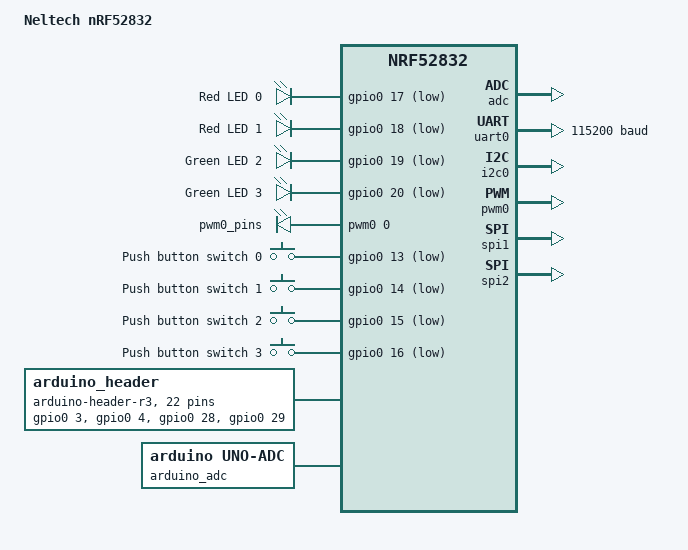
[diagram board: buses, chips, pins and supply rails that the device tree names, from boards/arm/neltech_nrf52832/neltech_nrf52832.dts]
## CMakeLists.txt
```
# SPDX-License-Identifier: Apache-2.0

cmake_minimum_required(VERSION 3.20.0)

find_package(Zephyr REQUIRED HINTS $ENV{ZEPHYR_BASE})
project(hal_nrf52)

set(CMAKE_EXPORT_COMPILE_COMMANDS ON)

target_sources(app PRIVATE 
            src/main.c
            src/hal.c
            src/hal_gpio.c
            src/hal_uart.c
            src/hal_i2c.c
            src/hal_pwm.c
            src/hal_adc.c
            )

zephyr_library_sources_ifdef(
    CONFIG_BT
    src/hal_ble.c
    src/ble/ble_gatt.c
    src/ble/bluetoothle.c
)
```

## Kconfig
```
mainmenu "Custom apps Menu"
source "Kconfig.zephyr"

menu "Application Options"
config GPIO_PIN_NUM
	int "GPIO pin number"
	default 0
	help
	  Total number of GPIO pins available on the board.

config GPIO_PORT_PIN_NUM 
	int "GPIO pin per port"
	default 0
	help
	  Number of GPIO pins per port.

config GPIO_NRESET_PIN
	int "GPIO pin number for nRESET"
	default 0
	help
	  GPIO pin number for nRESET.
endmenu
```

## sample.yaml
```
manifest:
  self:
    west-commands: scripts/west-commands.yml
    
sample:
  description: Hello World sample, the simplest Zephyr
    application
  name: hello world
common:
    tags: introduction
    integration_platforms:
      - native_posix
    harness: console
    harness_config:
      type: one_line
      regex:
        - "Hello World! (.*)"
tests:
  sample.basic.helloworld:
    tags: introduction
```

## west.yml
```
# Copyright (c) 2021 Nordic Semiconductor ASA
# SPDX-License-Identifier: Apache-2.0

manifest:
  self:
    west-commands: scripts/west-commands.yml

  remotes:
    - name: zephyrproject-rtos
      url-base: https://github.com/zephyrproject-rtos

  projects:
    - name: zephyr
      remote: zephyrproject-rtos
      revision: v3.5.0
      import:
        # By using name-allowlist we can clone only the modules that are
        # strictly needed by the application.
        name-allowlist:
          - cmsis      # required by the ARM port
          - hal_nordic # required by the custom_plank board (Nordic based)
```

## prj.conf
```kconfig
# Enable compiler output color
CONFIG_COMPILER_COLOR_DIAGNOSTICS=y

# Debug configs
CONFIG_ASSERT=y

# ADC configs
CONFIG_ADC=y

# I2C configs
CONFIG_I2C=y

# PWM config
CONFIG_PWM=y

# UART configs
CONFIG_SERIAL=y
CONFIG_CONSOLE=y
CONFIG_UART_LINE_CTRL=y
CONFIG_UART_INTERRUPT_DRIVEN=y
CONFIG_UART_USE_RUNTIME_CONFIGURE=y
CONFIG_RING_BUFFER=y 

# Heap memory pool size used by UART driver
CONFIG_HEAP_MEM_POOL_SIZE=512

CONFIG_BOARD_ENABLE_DCDC=y

# Console RTT configs
# CONFIG_LOG=y
# CONFIG_USE_SEGGER_RTT=y
# CONFIG_LOG_BACKEND_RTT=y
# CONFIG_LOG_BACKEND_UART=n
```

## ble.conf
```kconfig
# Default config
CONFIG_BT=y
CONFIG_BT_PERIPHERAL=y
CONFIG_BT_DEVICE_NAME="BLE_SAMPLE"
CONFIG_BT_MAX_CONN=1

# Enable FOTA over BLE
CONFIG_BOOTLOADER_MCUBOOT=y
CONFIG_NCS_SAMPLE_MCUMGR_BT_OTA_DFU=y

# In order to correctly tune the stack sizes for the threads the following
# Configurations can enabled to print the current use:
# CONFIG_THREAD_NAME=y
# CONFIG_THREAD_ANALYZER=y
# CONFIG_THREAD_ANALYZER_AUTO=y
# CONFIG_THREAD_ANALYZER_RUN_UNLOCKED=y
# CONFIG_THREAD_ANALYZER_USE_PRINTK=y
# CONFIG_CONSOLE=y
# CONFIG_UART_CONSOLE=y
# CONFIG_SERIAL=y
# CONFIG_PRINTK=y


# # Configurations set based on thread analyzer output.
# CONFIG_MPSL_WORK_STACK_SIZE=768
# CONFIG_MAIN_STACK_SIZE=1024
# CONFIG_IDLE_STACK_SIZE=256
# CONFIG_SYSTEM_WORKQUEUE_STACK_SIZE=512


# # Disable features not needed
# CONFIG_TIMESLICING=n

# # Disable Bluetooth features not needed
# CONFIG_BT_DEBUG_NONE=y
# CONFIG_BT_DATA_LEN_UPDATE=n
# CONFIG_BT_PHY_UPDATE=n
# CONFIG_BT_GATT_CACHING=n
# CONFIG_BT_GAP_PERIPHERAL_PREF_PARAMS=n
# CONFIG_BT_HCI_VS_EXT=n

# # Disable Bluetooth controller features not needed
# CONFIG_BT_CTLR_PRIVACY=n
# CONFIG_BT_CTLR_PHY_2M=n

# # Reduce Bluetooth buffers
# CONFIG_BT_BUF_EVT_DISCARDABLE_COUNT=1
# CONFIG_BT_BUF_EVT_DISCARDABLE_SIZE=43
# CONFIG_BT_BUF_EVT_RX_COUNT=2

# CONFIG_BT_CONN_TX_MAX=2
# CONFIG_BT_L2CAP_TX_BUF_COUNT=2
# CONFIG_BT_BUF_ACL_TX_COUNT=3
# CONFIG_BT_BUF_ACL_TX_SIZE=27
```

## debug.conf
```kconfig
# Logging configs
CONFIG_LOG=y
CONFIG_LOG_BACKEND_RTT=y
CONFIG_LOG_BACKEND_UART=y
CONFIG_LOG_BACKEND_SHOW_COLOR=y
CONFIG_LOG_BACKEND_FORMAT_TIMESTAMP=y
CONFIG_STDOUT_CONSOLE=y

# Debug configs
CONFIG_DEBUG=y
CONFIG_DEBUG_OPTIMIZATIONS=y
CONFIG_DEBUG_THREAD_INFO=y
CONFIG_CBPRINTF_FP_SUPPORT=y
CONFIG_THREAD_NAME=y
CONFIG_THREAD_ANALYZER=y

# Tracing configs
CONFIG_TRACING=y
CONFIG_TRACING_BACKEND_RAM=y

# Application configs
CONFIG_NEWLIB_LIBC=y
```

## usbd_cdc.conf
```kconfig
## USB CDC ACM configs

# USB relative configs
CONFIG_USB_DEVICE_STACK=y
CONFIG_USB_SELF_POWERED=n

# USB device configs
CONFIG_USB_DEVICE_PRODUCT="CDC ACM device"
CONFIG_USB_DEVICE_MANUFACTURER="Nordic Semiconductor"
CONFIG_USB_DEVICE_VID=0x2e8a
CONFIG_USB_DEVICE_PID=0x0007

# Logging configs
CONFIG_USB_DRIVER_LOG_LEVEL_ERR=y
CONFIG_USB_DEVICE_LOG_LEVEL_ERR=y
CONFIG_USB_CDC_ACM_LOG_LEVEL_ERR=y
```

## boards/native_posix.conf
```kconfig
CONFIG_GPIO_PIN_NUM=32
CONFIG_GPIO_PORT_PIN_NUM=32
```

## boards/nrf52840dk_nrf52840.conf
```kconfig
# Application configs
CONFIG_GPIO_PIN_NUM=48
CONFIG_GPIO_PORT_PIN_NUM=32
CONFIG_GPIO_NRESET_PIN=18
```

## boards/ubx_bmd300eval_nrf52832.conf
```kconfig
# Application configs
CONFIG_GPIO_PIN_NUM=32
CONFIG_GPIO_PORT_PIN_NUM=32
CONFIG_GPIO_NRESET_PIN=21
```

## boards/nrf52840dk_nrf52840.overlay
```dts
// ------------------ Remove DK board default overlay ------------------ // 

&spi1 {
	status = "disabled";
};

&spi3 {
	status = "disabled";
};

&qspi {
	status = "disabled";
};

/ {
	aliases {
		/delete-property/ sw0;
		/delete-property/ sw1;
		/delete-property/ sw2;
		/delete-property/ sw3;
		/delete-property/ led0;
		/delete-property/ led1;
		/delete-property/ led2;
		/delete-property/ led3;
		/delete-property/ pwm-led0;
		/delete-property/ bootloader-led0;
		/delete-property/ mcuboot-led0;
		/delete-property/ mcuboot-button0;
	};
};

// ------------------ Application  ------------------ // 

&zephyr_udc0 {
	usbd_cdc_acm: cdc_acm_uart0 {
		compatible = "zephyr,cdc-acm-uart";
		status = "okay";
	};
};

&uart1 {
	status = "disabled";
};

&pwm1 {
	status = "okay";
	pinctrl-0 = <&pwm1_default>;
	pinctrl-names = "default";
};

&pwm2 {
	status = "okay";
	pinctrl-0 = <&pwm2_default>;
	pinctrl-names = "default";
};

&pwm3 {
	status = "okay";
	pinctrl-0 = <&pwm3_default>;
	pinctrl-names = "default";
};

/ {
	zephyr,user {
		pwm_pins {
			compatible = "pwm-leds";
			pwm0_pins: pwm0_pins {
				pwms =	<&pwm0 0 PWM_KHZ(2000) PWM_POLARITY_NORMAL>,
						<&pwm0 1 PWM_KHZ(2000) PWM_POLARITY_NORMAL>,
						<&pwm0 2 PWM_KHZ(2000) PWM_POLARITY_NORMAL>,
						<&pwm0 3 PWM_KHZ(2000) PWM_POLARITY_NORMAL>;
			};

			pwm1_pins: pwm1_pins {
				pwms =	<&pwm1 0 PWM_KHZ(2000) PWM_POLARITY_NORMAL>,
						<&pwm1 1 PWM_KHZ(2000) PWM_POLARITY_NORMAL>,
						<&pwm1 2 PWM_KHZ(2000) PWM_POLARITY_NORMAL>,
						<&pwm1 3 PWM_KHZ(2000) PWM_POLARITY_NORMAL>;
			};

			pwm2_pins: pwm2_pins {
				pwms =	<&pwm2 0 PWM_KHZ(2) PWM_POLARITY_NORMAL>,
						<&pwm2 1 PWM_KHZ(2) PWM_POLARITY_NORMAL>,
						<&pwm2 2 PWM_KHZ(2) PWM_POLARITY_NORMAL>,
						<&pwm2 3 PWM_KHZ(2) PWM_POLARITY_NORMAL>;
			};

			pwm3_pins: pwm3_pins {
				pwms =	<&pwm3 0 PWM_KHZ(2) PWM_POLARITY_NORMAL>,
						<&pwm3 1 PWM_KHZ(2) PWM_POLARITY_NORMAL>,
						<&pwm3 2 PWM_KHZ(2) PWM_POLARITY_NORMAL>,
						<&pwm3 3 PWM_KHZ(2) PWM_POLARITY_NORMAL>;
			};
		};
	};
};


&pinctrl {
	uart0_default: uart0_default
	{
		group2 {
			psels = <NRF_PSEL(UART_RX, 0, 9)>,
					<NRF_PSEL(UART_CTS, 0, 7)>;
		};
	};
	uart0_sleep: uart0_sleep
	{
		group1 {
			psels = <NRF_PSEL(UART_TX, 0, 6)>,
					<NRF_PSEL(UART_RX, 0, 9)>,
					<NRF_PSEL(UART_RTS, 0, 5)>,
					<NRF_PSEL(UART_CTS, 0, 7)>;
			low-power-enable;
		};
	};
	i2c0_default: i2c0_default 
	{
		group1 {
			psels = <NRF_PSEL(TWIM_SDA, 0, 8)>,
					<NRF_PSEL(TWIM_SCL, 0, 11)>;
		};
	};
	
	i2c0_sleep: i2c0_sleep
	{
		group1 {
			psels = <NRF_PSEL(TWIM_SDA, 0, 8)>,
					<NRF_PSEL(TWIM_SCL, 0, 11)>;
		};
	};

	pwm0_sleep: pwm0_sleep
	{
		group1 {
			psels = <NRF_PSEL(PWM_OUT0, 0, 4)>,
					<NRF_PSEL(PWM_OUT1, 0, 13)>,
					<NRF_PSEL(PWM_OUT2, 0, 14)>,
					<NRF_PSEL(PWM_OUT3, 0, 15)>;
		};
	};

	pwm0_default: pwm0_default
	{
		group1 {
			psels = <NRF_PSEL(PWM_OUT0, 0, 4)>,
					<NRF_PSEL(PWM_OUT1, 0, 13)>,
					<NRF_PSEL(PWM_OUT2, 0, 14)>,
					<NRF_PSEL(PWM_OUT3, 0, 15)>;
		};
	};

	pwm1_default: pwm1_default {
		group1 {
			psels = <NRF_PSEL(PWM_OUT0, 0, 17)>,
		   <NRF_PSEL(PWM_OUT1, 0, 24)>,
		   <NRF_PSEL(PWM_OUT2, 0, 25)>,
		   <NRF_PSEL(PWM_OUT3, 0, 27)>;
		};
	};

	pwm2_default: pwm2_default {
		group1 {
			psels = <NRF_PSEL(PWM_OUT0, 0, 28)>,
		   <NRF_PSEL(PWM_OUT1, 0, 29)>,
		   <NRF_PSEL(PWM_OUT2, 0, 31)>,
		   <NRF_PSEL(PWM_OUT3, 1, 2)>;
		};
	};

	pwm3_default: pwm3_default {
		group1 {
			psels = <NRF_PSEL(PWM_OUT0, 1, 4)>,
		   <NRF_PSEL(PWM_OUT1, 1, 7)>,
		   <NRF_PSEL(PWM_OUT2, 1, 10)>,
		   <NRF_PSEL(PWM_OUT3, 1, 11)>;
		};
	};
};
```

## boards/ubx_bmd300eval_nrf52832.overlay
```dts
/ {
	zephyr,user {
		pwm_pins {
			compatible = "pwm-leds";
			pwm0_pins: pwm0_pins {
				pwms =	<&pwm0 0 PWM_KHZ(2000) PWM_POLARITY_NORMAL>,
						<&pwm0 1 PWM_KHZ(2000) PWM_POLARITY_NORMAL>,
						<&pwm0 2 PWM_KHZ(2000) PWM_POLARITY_NORMAL>,
						<&pwm0 3 PWM_KHZ(2000) PWM_POLARITY_NORMAL>;
			};
		};
	};
};


&spi0 {
	cs-gpios = <&gpio0 25 0>;
};

&pinctrl {

	pwm0_sleep: pwm0_sleep
	{
		group1 {
			psels = <NRF_PSEL(PWM_OUT0, 0, 9)>,
					<NRF_PSEL(PWM_OUT1, 0, 10)>,
					<NRF_PSEL(PWM_OUT2, 0, 11)>,
					<NRF_PSEL(PWM_OUT3, 0, 12)>;
		};
	};

	pwm0_default: pwm0_default
	{
		group1 {
			psels = <NRF_PSEL(PWM_OUT0, 0, 9)>,
					<NRF_PSEL(PWM_OUT1, 0, 10)>,
					<NRF_PSEL(PWM_OUT2, 0, 11)>,
					<NRF_PSEL(PWM_OUT3, 0, 12)>;
		};
	};

	spi0_default: spi0_default {
		group1 {
			psels = <NRF_PSEL(SPIM_SCK, 0, 22)>,
					<NRF_PSEL(SPIM_MOSI, 0, 23)>,
					<NRF_PSEL(SPIM_MISO, 0, 24)>;
		};
	};

	spi0_sleep: spi0_sleep {
		group1 {
			psels = <NRF_PSEL(SPIM_SCK, 0, 22)>,
					<NRF_PSEL(SPIM_MOSI, 0, 23)>,
					<NRF_PSEL(SPIM_MISO, 0, 24)>;
		};
	};
};
```

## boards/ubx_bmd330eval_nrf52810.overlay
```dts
// ------------------ Remove DK board default overlay ------------------ // 


/ {
	aliases {
	};
};

// ------------------ Application  ------------------ // 
&slot0_partition{
	reg = < 0xc000 0x1a000 >;
};

/ {
	zephyr,user {
		pwm_pins {
			compatible = "pwm-leds";
			pwm0_pins: pwm0_pins {
				pwms =	<&pwm0 0 PWM_KHZ(2000) PWM_POLARITY_NORMAL>,
						<&pwm0 1 PWM_KHZ(2000) PWM_POLARITY_NORMAL>,
						<&pwm0 2 PWM_KHZ(2000) PWM_POLARITY_NORMAL>,
						<&pwm0 3 PWM_KHZ(2000) PWM_POLARITY_NORMAL>;
			};
		};
	};
};


&spi0 {
	cs-gpios = <&gpio0 25 0>;
};

&pinctrl {

	pwm0_sleep: pwm0_sleep
	{
		group1 {
			psels = <NRF_PSEL(PWM_OUT0, 0, 9)>,
					<NRF_PSEL(PWM_OUT1, 0, 10)>,
					<NRF_PSEL(PWM_OUT2, 0, 11)>,
					<NRF_PSEL(PWM_OUT3, 0, 12)>;
		};
	};

	pwm0_default: pwm0_default
	{
		group1 {
			psels = <NRF_PSEL(PWM_OUT0, 0, 9)>,
					<NRF_PSEL(PWM_OUT1, 0, 10)>,
					<NRF_PSEL(PWM_OUT2, 0, 11)>,
					<NRF_PSEL(PWM_OUT3, 0, 12)>;
		};
	};

	spi0_default: spi0_default {
		group1 {
			psels = <NRF_PSEL(SPIM_SCK, 0, 22)>,
					<NRF_PSEL(SPIM_MOSI, 0, 23)>,
					<NRF_PSEL(SPIM_MISO, 0, 24)>;
		};
	};

	spi0_sleep: spi0_sleep {
		group1 {
			psels = <NRF_PSEL(SPIM_SCK, 0, 22)>,
					<NRF_PSEL(SPIM_MOSI, 0, 23)>,
					<NRF_PSEL(SPIM_MISO, 0, 24)>;
		};
	};
};
```

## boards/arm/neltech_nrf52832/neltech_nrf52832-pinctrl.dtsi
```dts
&pinctrl {
	uart0_default: uart0_default {
		group1 {
			psels = <NRF_PSEL(UART_TX, 0, 6)>,
				<NRF_PSEL(UART_RX, 0, 8)>,
				<NRF_PSEL(UART_RTS, 0, 5)>,
				<NRF_PSEL(UART_CTS, 0, 7)>;
		};
	};

	uart0_sleep: uart0_sleep {
		group1 {
			psels = <NRF_PSEL(UART_TX, 0, 6)>,
				<NRF_PSEL(UART_RX, 0, 8)>,
				<NRF_PSEL(UART_RTS, 0, 5)>,
				<NRF_PSEL(UART_CTS, 0, 7)>;
			low-power-enable;
		};
	};

	i2c0_default: i2c0_default {
		group1 {
			psels = <NRF_PSEL(TWIM_SDA, 0, 26)>,
				<NRF_PSEL(TWIM_SCL, 0, 27)>;
		};
	};

	i2c0_sleep: i2c0_sleep {
		group1 {
			psels = <NRF_PSEL(TWIM_SDA, 0, 26)>,
				<NRF_PSEL(TWIM_SCL, 0, 27)>;
			low-power-enable;
		};
	};

	i2c1_default: i2c1_default {
		group1 {
			psels = <NRF_PSEL(TWIM_SDA, 0, 30)>,
				<NRF_PSEL(TWIM_SCL, 0, 31)>;
		};
	};

	i2c1_sleep: i2c1_sleep {
		group1 {
			psels = <NRF_PSEL(TWIM_SDA, 0, 30)>,
				<NRF_PSEL(TWIM_SCL, 0, 31)>;
			low-power-enable;
		};
	};

    pwm0_default: pwm0_default {
        group1 {
            psels = <NRF_PSEL(PWM_OUT0, 0, 9)>,
                    <NRF_PSEL(PWM_OUT1, 0, 10)>,
                    <NRF_PSEL(PWM_OUT2, 0, 11)>,
                    <NRF_PSEL(PWM_OUT3, 0, 12)>;
                    nordic,invert;
        };
    };

    pwm0_sleep: pwm0_sleep {
        group1 {
            psels = <NRF_PSEL(PWM_OUT0, 0, 9)>,
                    <NRF_PSEL(PWM_OUT1, 0, 10)>,
                    <NRF_PSEL(PWM_OUT2, 0, 11)>,
                    <NRF_PSEL(PWM_OUT3, 0, 12)>;
                    low-power-enable;
        };
    };

    spi0_default: spi0_default {
        group1 {
            psels = <NRF_PSEL(SPIM_SCK, 0, 22)>,
                    <NRF_PSEL(SPIM_MOSI, 0, 23)>,
                    <NRF_PSEL(SPIM_MISO, 0, 24)>;
        };
    };

    spi0_sleep: spi0_sleep {
        group1 {
            psels = <NRF_PSEL(SPIM_SCK, 0, 22)>,
                    <NRF_PSEL(SPIM_MOSI, 0, 23)>,
                    <NRF_PSEL(SPIM_MISO, 0, 24)>;
                    low-power-enable;
        };
    };

	spi1_default: spi1_default {
		group1 {
			psels = <NRF_PSEL(SPIM_SCK, 0, 31)>,
				<NRF_PSEL(SPIM_MOSI, 0, 30)>,
				<NRF_PSEL(SPIM_MISO, 0, 29)>;
		};
	};

	spi1_sleep: spi1_sleep {
		group1 {
			psels = <NRF_PSEL(SPIM_SCK, 0, 31)>,
				<NRF_PSEL(SPIM_MOSI, 0, 30)>,
				<NRF_PSEL(SPIM_MISO, 0, 29)>;
			low-power-enable;
		};
	};

	spi2_default: spi2_default {
		group1 {
			psels = <NRF_PSEL(SPIM_SCK, 0, 25)>,
				<NRF_PSEL(SPIM_MOSI, 0, 23)>,
				<NRF_PSEL(SPIM_MISO, 0, 24)>;
		};
	};

	spi2_sleep: spi2_sleep {
		group1 {
			psels = <NRF_PSEL(SPIM_SCK, 0, 25)>,
				<NRF_PSEL(SPIM_MOSI, 0, 23)>,
				<NRF_PSEL(SPIM_MISO, 0, 24)>;
			low-power-enable;
		};
	};

};
```

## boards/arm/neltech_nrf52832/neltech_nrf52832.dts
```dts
// Copyright (c) 2024 Nordic Semiconductor ASA
// SPDX-License-Identifier: Apache-2.0

/dts-v1/;
#include <nordic/nrf52832_ciaa.dtsi>
#include "neltech_nrf52832-pinctrl.dtsi"
#include <zephyr/dt-bindings/input/input-event-codes.h>

/ {
	model = "Neltech nRF52832";
	compatible = "neltech,neltech-nrf52832";

	chosen {
		zephyr,console = &uart0;
		zephyr,shell-uart = &uart0;
		zephyr,uart-mcumgr = &uart0;
		zephyr,bt-mon-uart = &uart0;
		zephyr,bt-c2h-uart = &uart0;
		zephyr,sram = &sram0;
		zephyr,flash = &flash0;
		zephyr,code-partition = &slot0_partition;
	};

	leds {
		compatible = "gpio-leds";
		led0: led_0 {
			gpios = <&gpio0 17 GPIO_ACTIVE_LOW>;
			label = "Red LED 0";
		};
		led1: led_1 {
			gpios = <&gpio0 18 GPIO_ACTIVE_LOW>;
			label = "Red LED 1";
		};
		led2: led_2 {
			gpios = <&gpio0 19 GPIO_ACTIVE_LOW>;
			label = "Green LED 2";
		};
		led3: led_3 {
			gpios = <&gpio0 20 GPIO_ACTIVE_LOW>;
			label = "Green LED 3";
		};
	};

	pwm_pins {
		compatible = "pwm-leds";
		pwm0_pins: pwm0_pins {
			pwms = <&pwm0 0 PWM_KHZ(2000) PWM_POLARITY_NORMAL>,
				   <&pwm0 1 PWM_KHZ(2000) PWM_POLARITY_NORMAL>,
				   <&pwm0 2 PWM_KHZ(2000) PWM_POLARITY_NORMAL>,
				   <&pwm0 3 PWM_KHZ(2000) PWM_POLARITY_NORMAL>;
		};
	};

	buttons {
		compatible = "gpio-keys";
		button0: button_0 {
			gpios = <&gpio0 13 (GPIO_PULL_UP | GPIO_ACTIVE_LOW)>;
			label = "Push button switch 0";
			zephyr,code = <INPUT_KEY_0>;
		};
		button1: button_1 {
			gpios = <&gpio0 14 (GPIO_PULL_UP | GPIO_ACTIVE_LOW)>;
			label = "Push button switch 1";
			zephyr,code = <INPUT_KEY_1>;
		};
		button2: button_2 {
			gpios = <&gpio0 15 (GPIO_PULL_UP | GPIO_ACTIVE_LOW)>;
			label = "Push button switch 2";
			zephyr,code = <INPUT_KEY_2>;
		};
		button3: button_3 {
			gpios = <&gpio0 16 (GPIO_PULL_UP | GPIO_ACTIVE_LOW)>;
			label = "Push button switch 3";
			zephyr,code = <INPUT_KEY_3>;
		};
	};

	arduino_header: connector {
		compatible = "arduino-header-r3";
		#gpio-cells = <2>;
		gpio-map-mask = <0xffffffff 0xffffffc0>;
		gpio-map-pass-thru = <0 0x3f>;
		gpio-map = <0 0 &gpio0 3 0>,	/* A0 */
			   <1 0 &gpio0 4 0>,	/* A1 */
			   <2 0 &gpio0 28 0>,	/* A2 */
			   <3 0 &gpio0 29 0>,	/* A3 */
			   <4 0 &gpio0 30 0>,	/* A4 */
			   <5 0 &gpio0 31 0>,	/* A5 */
			   <6 0 &gpio0 11 0>,	/* D0 */
			   <7 0 &gpio0 12 0>,	/* D1 */
			   <8 0 &gpio0 13 0>,	/* D2 */
			   <9 0 &gpio0 14 0>,	/* D3 */
			   <10 0 &gpio0 15 0>,	/* D4 */
			   <11 0 &gpio0 16 0>,	/* D5 */
			   <12 0 &gpio0 17 0>,	/* D6 */
			   <13 0 &gpio0 18 0>,	/* D7 */
			   <14 0 &gpio0 19 0>,	/* D8 */
			   <15 0 &gpio0 20 0>,	/* D9 */
			   <16 0 &gpio0 22 0>,	/* D10 */
			   <17 0 &gpio0 23 0>,	/* D11 */
			   <18 0 &gpio0 24 0>,	/* D12 */
			   <19 0 &gpio0 25 0>,	/* D13 */
			   <20 0 &gpio0 26 0>,	/* D14 */
			   <21 0 &gpio0 27 0>;	/* D15 */
	};

	arduino_adc: analog-connector {
		compatible = "arduino,uno-adc";
		#io-channel-cells = <1>;
		io-channel-map = <0 &adc 1>,	/* A0 = P0.3 = AIN1 */
				 <1 &adc 2>,	/* A1 = P0.4 = AIN2 */
				 <2 &adc 4>,	/* A2 = P0.28 = AIN4 */
				 <3 &adc 5>,	/* A3 = P0.29 = AIN5 */
				 <4 &adc 6>,	/* A4 = P0.30 = AIN6 */
				 <5 &adc 7>;	/* A5 = P0.31 = AIN7 */
	};

	/* These aliases are provided for compatibility with samples */
	aliases {
		led0 = &led0;
		led1 = &led1;
		led2 = &led2;
		led3 = &led3;
		// pwm-led0 = &pwm_led0;
		sw0 = &button0;
		sw1 = &button1;
		sw2 = &button2;
		sw3 = &button3;
		bootloader-led0 = &led0;
		mcuboot-button0 = &button0;
		mcuboot-led0 = &led0;
		watchdog0 = &wdt0;
	};
};

&adc {
	status = "okay";
};

&uicr {
	gpio-as-nreset;
};

&gpiote {
	status = "okay";
};

&gpio0 {
	status = "okay";
};

arduino_serial: &uart0 {
	status = "okay";
	compatible = "nordic,nrf-uarte";
	current-speed = <115200>;
	pinctrl-0 = <&uart0_default>;
	pinctrl-1 = <&uart0_sleep>;
	pinctrl-names = "default", "sleep";
};

arduino_i2c: &i2c0 {
	compatible = "nordic,nrf-twi";
	status = "okay";
	pinctrl-0 = <&i2c0_default>;
	pinctrl-1 = <&i2c0_sleep>;
	pinctrl-names = "default", "sleep";
};

&i2c1 {
	compatible = "nordic,nrf-twi";
	/* Cannot be used together with spi1. */
	/* status = "okay"; */
	pinctrl-0 = <&i2c1_default>;
	pinctrl-1 = <&i2c1_sleep>;
	pinctrl-names = "default", "sleep";
};

&pwm0 {
	status = "okay";
	pinctrl-0 = <&pwm0_default>;
	pinctrl-1 = <&pwm0_sleep>;
	pinctrl-names = "default", "sleep";
};

&spi0 {
	compatible = "nordic,nrf-spi";
	/* Cannot be used together with i2c0. */
	/* status = "okay"; */
	pinctrl-0 = <&spi0_default>;
	pinctrl-1 = <&spi0_sleep>;
	pinctrl-names = "default", "sleep";
};

&spi1 {
	compatible = "nordic,nrf-spi";
	status = "okay";
	pinctrl-0 = <&spi1_default>;
	pinctrl-1 = <&spi1_sleep>;
	pinctrl-names = "default", "sleep";
};

arduino_spi: &spi2 {
	compatible = "nordic,nrf-spi";
	status = "okay";
	cs-gpios = <&arduino_header 16 GPIO_ACTIVE_LOW>; /* D10 */
	pinctrl-0 = <&spi2_default>;
	pinctrl-1 = <&spi2_sleep>;
	pinctrl-names = "default", "sleep";
};

&flash0 {

	partitions {
		compatible = "fixed-partitions";
		#address-cells = <1>;
		#size-cells = <1>;

		boot_partition: partition@0 {
			label = "mcuboot";
			reg = <0x00000000 0xc000>;
		};
		slot0_partition: partition@c000 {
			label = "image-0";
			reg = <0x0000C000 0x32000>;
		};
		slot1_partition: partition@3e000 {
			label = "image-1";
			reg = <0x0003E000 0x32000>;
		};
		scratch_partition: partition@70000 {
			label = "image-scratch";
			reg = <0x00070000 0xa000>;
		};
		storage_partition: partition@7a000 {
			label = "storage";
			reg = <0x0007a000 0x00006000>;
		};
	};
};
```

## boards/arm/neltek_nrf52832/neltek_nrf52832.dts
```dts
// Copyright (c) 2024 Nordic Semiconductor ASA
// SPDX-License-Identifier: Apache-2.0

/dts-v1/;
#include <nordic/nrf52832_ciaa.dtsi>
#include "neltek_nrf52832-pinctrl.dtsi"
#include <zephyr/dt-bindings/input/input-event-codes.h>

/ {
	model = "Neltek nRF52832";
	compatible = "neltek,neltek-nrf52832";

	chosen {
		zephyr,console = &uart0;
		zephyr,shell-uart = &uart0;
		zephyr,uart-mcumgr = &uart0;
		zephyr,bt-mon-uart = &uart0;
		zephyr,bt-c2h-uart = &uart0;
		zephyr,sram = &sram0;
		zephyr,flash = &flash0;
		zephyr,code-partition = &slot0_partition;
	};

	leds {
		compatible = "gpio-leds";
		led0: led_0 {
			gpios = <&gpio0 17 GPIO_ACTIVE_LOW>;
			label = "Red LED 0";
		};
		led1: led_1 {
			gpios = <&gpio0 18 GPIO_ACTIVE_LOW>;
			label = "Red LED 1";
		};
		led2: led_2 {
			gpios = <&gpio0 19 GPIO_ACTIVE_LOW>;
			label = "Green LED 2";
		};
		led3: led_3 {
			gpios = <&gpio0 20 GPIO_ACTIVE_LOW>;
			label = "Green LED 3";
		};
	};

	pwm_pins {
		compatible = "pwm-leds";
		pwm0_pins: pwm0_pins {
			pwms = <&pwm0 0 PWM_KHZ(2000) PWM_POLARITY_NORMAL>,
				   <&pwm0 1 PWM_KHZ(2000) PWM_POLARITY_NORMAL>,
				   <&pwm0 2 PWM_KHZ(2000) PWM_POLARITY_NORMAL>,
				   <&pwm0 3 PWM_KHZ(2000) PWM_POLARITY_NORMAL>;
		};
	};

	buttons {
		compatible = "gpio-keys";
		button0: button_0 {
			gpios = <&gpio0 13 (GPIO_PULL_UP | GPIO_ACTIVE_LOW)>;
			label = "Push button switch 0";
			zephyr,code = <INPUT_KEY_0>;
		};
		button1: button_1 {
			gpios = <&gpio0 14 (GPIO_PULL_UP | GPIO_ACTIVE_LOW)>;
			label = "Push button switch 1";
			zephyr,code = <INPUT_KEY_1>;
		};
		button2: button_2 {
			gpios = <&gpio0 15 (GPIO_PULL_UP | GPIO_ACTIVE_LOW)>;
			label = "Push button switch 2";
			zephyr,code = <INPUT_KEY_2>;
		};
		button3: button_3 {
			gpios = <&gpio0 16 (GPIO_PULL_UP | GPIO_ACTIVE_LOW)>;
			label = "Push button switch 3";
			zephyr,code = <INPUT_KEY_3>;
		};
	};

	arduino_header: connector {
		compatible = "arduino-header-r3";
		#gpio-cells = <2>;
		gpio-map-mask = <0xffffffff 0xffffffc0>;
		gpio-map-pass-thru = <0 0x3f>;
		gpio-map = <0 0 &gpio0 3 0>,	/* A0 */
			   <1 0 &gpio0 4 0>,	/* A1 */
			   <2 0 &gpio0 28 0>,	/* A2 */
			   <3 0 &gpio0 29 0>,	/* A3 */
			   <4 0 &gpio0 30 0>,	/* A4 */
			   <5 0 &gpio0 31 0>,	/* A5 */
			   <6 0 &gpio0 11 0>,	/* D0 */
			   <7 0 &gpio0 12 0>,	/* D1 */
			   <8 0 &gpio0 13 0>,	/* D2 */
			   <9 0 &gpio0 14 0>,	/* D3 */
			   <10 0 &gpio0 15 0>,	/* D4 */
			   <11 0 &gpio0 16 0>,	/* D5 */
			   <12 0 &gpio0 17 0>,	/* D6 */
			   <13 0 &gpio0 18 0>,	/* D7 */
			   <14 0 &gpio0 19 0>,	/* D8 */
			   <15 0 &gpio0 20 0>,	/* D9 */
			   <16 0 &gpio0 22 0>,	/* D10 */
			   <17 0 &gpio0 23 0>,	/* D11 */
			   <18 0 &gpio0 24 0>,	/* D12 */
			   <19 0 &gpio0 25 0>,	/* D13 */
			   <20 0 &gpio0 26 0>,	/* D14 */
			   <21 0 &gpio0 27 0>;	/* D15 */
	};

	arduino_adc: analog-connector {
		compatible = "arduino,uno-adc";
		#io-channel-cells = <1>;
		io-channel-map = <0 &adc 1>,	/* A0 = P0.3 = AIN1 */
				 <1 &adc 2>,	/* A1 = P0.4 = AIN2 */
				 <2 &adc 4>,	/* A2 = P0.28 = AIN4 */
				 <3 &adc 5>,	/* A3 = P0.29 = AIN5 */
				 <4 &adc 6>,	/* A4 = P0.30 = AIN6 */
				 <5 &adc 7>;	/* A5 = P0.31 = AIN7 */
	};

	/* These aliases are provided for compatibility with samples */
	aliases {
		led0 = &led0;
		led1 = &led1;
		led2 = &led2;
		led3 = &led3;
		// pwm-led0 = &pwm_led0;
		sw0 = &button0;
		sw1 = &button1;
		sw2 = &button2;
		sw3 = &button3;
		bootloader-led0 = &led0;
		mcuboot-button0 = &button0;
		mcuboot-led0 = &led0;
		watchdog0 = &wdt0;
	};
};

&adc {
	status = "okay";
};

&uicr {
	gpio-as-nreset;
};

&gpiote {
	status = "okay";
};

&gpio0 {
	status = "okay";
};

arduino_serial: &uart0 {
	status = "okay";
	compatible = "nordic,nrf-uarte";
	current-speed = <115200>;
	pinctrl-0 = <&uart0_default>;
	pinctrl-1 = <&uart0_sleep>;
	pinctrl-names = "default", "sleep";
};

arduino_i2c: &i2c0 {
	compatible = "nordic,nrf-twi";
	status = "okay";
	pinctrl-0 = <&i2c0_default>;
	pinctrl-1 = <&i2c0_sleep>;
	pinctrl-names = "default", "sleep";
};

&i2c1 {
	compatible = "nordic,nrf-twi";
	/* Cannot be used together with spi1. */
	/* status = "okay"; */
	pinctrl-0 = <&i2c1_default>;
	pinctrl-1 = <&i2c1_sleep>;
	pinctrl-names = "default", "sleep";
};

&pwm0 {
	status = "okay";
	pinctrl-0 = <&pwm0_default>;
	pinctrl-1 = <&pwm0_sleep>;
	pinctrl-names = "default", "sleep";
};

&spi0 {
	compatible = "nordic,nrf-spi";
	/* Cannot be used together with i2c0. */
	/* status = "okay"; */
	pinctrl-0 = <&spi0_default>;
	pinctrl-1 = <&spi0_sleep>;
	pinctrl-names = "default", "sleep";
};

&spi1 {
	compatible = "nordic,nrf-spi";
	status = "okay";
	pinctrl-0 = <&spi1_default>;
	pinctrl-1 = <&spi1_sleep>;
	pinctrl-names = "default", "sleep";
};

arduino_spi: &spi2 {
	compatible = "nordic,nrf-spi";
	status = "okay";
	cs-gpios = <&arduino_header 16 GPIO_ACTIVE_LOW>; /* D10 */
	pinctrl-0 = <&spi2_default>;
	pinctrl-1 = <&spi2_sleep>;
	pinctrl-names = "default", "sleep";
};

&flash0 {

	partitions {
		compatible = "fixed-partitions";
		#address-cells = <1>;
		#size-cells = <1>;

		boot_partition: partition@0 {
			label = "mcuboot";
			reg = <0x00000000 0xc000>;
		};
		slot0_partition: partition@c000 {
			label = "image-0";
			reg = <0x0000C000 0x32000>;
		};
		slot1_partition: partition@3e000 {
			label = "image-1";
			reg = <0x0003E000 0x32000>;
		};
		scratch_partition: partition@70000 {
			label = "image-scratch";
			reg = <0x00070000 0xa000>;
		};
		storage_partition: partition@7a000 {
			label = "storage";
			reg = <0x0007a000 0x00006000>;
		};
	};
};
```

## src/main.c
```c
/*******************************************************************************
* Title                 :   HAL Template
* Filename              :   main.c
* Origin Date           :   2023/11/21
* Version               :   0.0.0
* Compiler              :   nRF connect SDK 2.3.0
* Target                :   nRF52840DK
* Notes                 :   None
*******************************************************************************/


/******************************************************************************
* Includes
*******************************************************************************/
#include <stdio.h>
#include <string.h>

#include <zephyr/kernel.h>
#include <zephyr/device.h>
#include <zephyr/devicetree.h>

#include "hal.h"

/******************************************************************************
* Module Preprocessor Constants
*******************************************************************************/
#include "zephyr/logging/log.h"
#define MODULE_NAME			        main
#define MODULE_LOG_LEVEL	        LOG_LEVEL_INF
LOG_MODULE_REGISTER(MODULE_NAME, MODULE_LOG_LEVEL);

#define APP_TEST_GPIO               (0)
#define APP_TEST_UART 				(0)
#define APP_TEST_I2C            	(0)
#define APP_TEST_PWM            	(0)
#define APP_TEST_ADC                (0)
/******************************************************************************
* Module Preprocessor Macros
*******************************************************************************/

/******************************************************************************
* Module Typedefs
*******************************************************************************/

/******************************************************************************
* Module Variable Definitions
*******************************************************************************/

/******************************************************************************
* Static Function Prototypes
*******************************************************************************/

/******************************************************************************
* Function Definitions
*******************************************************************************/
#if (APP_TEST_GPIO!= 0)
uint8_t io_test_pins[]={4, 11, 29, 31};
void gpio_custom__task(void *pvParameters)
{
    // Test pin as outputs
    for(uint8_t idx=0; idx < ARRAY_SIZE(io_test_pins); idx++)
    {
        hal__setState(io_test_pins[idx], 1);
    }

    for(uint8_t idx=0; idx < ARRAY_SIZE(io_test_pins); idx++)
    {
        hal__setLow(io_test_pins[idx]);
        k_msleep(1000);
    }

    // Turn on each pin for 1 second and then of 1 every 1 sec
    for(uint8_t idx=0; idx < ARRAY_SIZE(io_test_pins); idx++)
    {
        hal__setHigh(io_test_pins[idx]);
        k_msleep(1000);
    }

    // Set test pins as input
    for(uint8_t idx=0; idx < ARRAY_SIZE(io_test_pins) - 1; idx++)
    {
        hal__setState(io_test_pins[idx], 0);
    }
    hal__setState(io_test_pins[ARRAY_SIZE(io_test_pins)-1], 2);

    while(1)
    {
        LOG_INF("============== GPIO input =====================");
        // Read pin state
        for(uint8_t idx=0; idx < ARRAY_SIZE(io_test_pins); idx++)
        {
            LOG_INF("Pin %d state: %d", io_test_pins[idx], hal__read(io_test_pins[idx]));
        }
        k_msleep(1000);
        LOG_INF("============== GPIO input =====================\r\n ");
    }
}
#endif /* End of (APP_TEST_GPIO!= 0) */

#if (APP_TEST_UART != 0)
void uart_test_echo(int uart_num)
{
	int size = hal__UARTAvailable(uart_num);
	if(size > 0)
	{
		uint8_t data[128]={0};
		hal__UARTRead(uart_num, data, size);
		LOG_INF("UART%d recv %dB", uart_num, size);

		// Echo back
		hal__UARTWrite(uart_num, data, size);
		LOG_HEXDUMP_INF(data, size, "Data: ");
	}
}


void uart_test_task(void* p_param)
{
#define NUMB_UART		(2)
    while(1)
    {
		for(uint8_t i=0; i < NUMB_UART; i++)
		{
			uart_test_echo(i);
        	k_msleep(100);
		}
    }
}
#endif /* End of (APP_TEST_UART != 0) */


#if (APP_TEST_I2C != 0)
#define DS3231_I2C_ADDR 	0x68
#define DS3231_REG_CONTROL 	0x0e
#define DS3231_REG_SECOND 	0x00
#define DS3231_REG_MINUTE 	0x01
#define DS3231_REG_HOUR  	0x02
#define DS3231_REG_DOW    	0x03


uint8_t DS3231_DecodeBCD(uint8_t bin) {
	return (((bin & 0xf0) >> 4) * 10) + (bin & 0x0f);
}

/**
 * @brief Encodes a decimal number to binaty-coded decimal for storage in registers.
 * @param dec Decimal number to encode.
 * @return Encoded binary-coded decimal value.
 */
uint8_t DS3231_EncodeBCD(uint8_t dec) {
	return (dec % 10 + ((dec / 10) << 4));
}


int8_t DS3231_GetRegByte(uint8_t regAddr) {
	uint8_t val;
    if (0 != hal__I2CREAD_uint8(0, DS3231_I2C_ADDR, regAddr, &val))
    {
        LOG_ERR("I2C Read address 0x%02x failed", regAddr);
        return -1;
    }
    else
    {
        LOG_INF("I2C Read address 0x%02x: %d", regAddr, val);
    }
	return val;
}

int8_t DS3231_SetRegByte(uint8_t regAddr, uint8_t val) {
    if (0 != hal__I2CWRITE_uint8(0, DS3231_I2C_ADDR, regAddr, val))
    {
       LOG_ERR("I2C Write address 0x%02x failed", regAddr);
        return -1;
    }
    else
    {
        LOG_INF("I2C Write address 0x%02x: %d", regAddr, val);
    }
    return 0;
}

/**
 * @brief Gets the current hour in 24h format.
 * @return Hour in 24h format, 0 to 23.
 */
uint8_t DS3231_GetHour(void) {
	return DS3231_DecodeBCD(DS3231_GetRegByte(DS3231_REG_HOUR));
}

void DS3231_GetFullTime(uint8_t* hour, uint8_t* minute, uint8_t* second) {
    // Using hal__I2CREAD() to read 3 time bytes (SS:MM:HH)
    uint8_t data[3] = {0};
    if(hal__I2CREAD(0, DS3231_I2C_ADDR, DS3231_REG_SECOND, data, 3))
    // Decode the data
    *hour = DS3231_DecodeBCD(data[2]);
    *minute = DS3231_DecodeBCD(data[1]);
    *second = DS3231_DecodeBCD(data[0]);
    LOG_INF("Current time: %02d:%02d:%02d", *hour, *minute, *second);
}

void DS3231_SetFullTime(uint8_t hour, uint8_t min, uint8_t sec)
{
    // Encode the data
    uint8_t data[3] = {0};
    data[0] = DS3231_EncodeBCD(sec);
    data[1] = DS3231_EncodeBCD(min);
    data[2] = DS3231_EncodeBCD(hour);
    // Using hal__I2CWRITE() to write 3 time bytes (SS:MM:HH)
    if(hal__I2CWRITE(0, DS3231_I2C_ADDR, DS3231_REG_SECOND, data, 3) != 3)
    {
        LOG_ERR("Failed to set time");
    }
    else
    {
        LOG_INF("Set time: %02d:%02d:%02d", hour, min, sec);
    }
}

/**
 * @brief Set the current hour, in 24h format.
 * @param hour_24mode Hour in 24h format, 0 to 23.
 */
void DS3231_SetHour(uint8_t hour_24mode) {
	DS3231_SetRegByte(DS3231_REG_HOUR, DS3231_EncodeBCD(hour_24mode & 0x3f));
}

void i2c_custom_task(void *pvParameters)
{
    uint8_t data = 0;
    uint8_t i2c_num = 0;
    uint8_t addr = 0x68;
    uint8_t reg = 0x00;
    int test_hour = 1;

    while(1)
    {

        //Test I2C APIs with RTC RS3231
        if( true != hal__I2CEXISTS(0, 0x68))
        {
            LOG_ERR("I2C device does not exist");
        }
        else
        {
            LOG_INF("I2C device exists");
        }
        k_msleep(1000);

        // Get/Set/Get hour
        uint8_t cur_hour = DS3231_GetHour();
        LOG_INF("Current hour: %d", cur_hour);
        k_msleep(1000);

        DS3231_SetHour(test_hour++ + 1);
        k_msleep(1000);

        cur_hour = DS3231_GetHour();
        LOG_INF("Current hour: %d", cur_hour);
        k_msleep(1000);

        // Set full time use
        uint8_t hour = 10;
        uint8_t minute = 11;
        uint8_t second = 12;
        DS3231_SetFullTime(hour, minute, second);
        for(uint8_t count=0; count<20; count++)
        {
            DS3231_GetFullTime(&hour, &minute, &second);
            k_msleep(1000);
        }
    }
}
#endif /* End of (APP_TEST_I2C == 1) */

int main(void)
{

	if (hal__init() != 0)
	{
		LOG_ERR("HAL init failed");
		return -1;
	}
    
#if (APP_TEST_GPIO != 0)
    gpio_custom__task(NULL);
#endif /* End of (APP_TEST_GPIO != 0) */

#if (APP_TEST_UART != 0)
	uart_test_task(NULL);	
#endif /* End of (APP_TEST_UART != 0) */

#if (APP_TEST_I2C != 0)
    i2c_custom_task(NULL);
#endif /* End of (APP_TEST_I2C != 0) */

#if (APP_TEST_PWM != 0)
    pwm_custom_task(NULL);
#endif /* End of (APP_TEST_PWM != 0) */

#if (APP_TEST_ADC != 0)
    adc_custom_task(NULL);
#endif /* End of (APP_TEST_ADC != 0) */
}

#if (APP_TEST_PWM != 0)
int __InitPWM();
int hal__setDutyCycle(uint8_t channel_num, uint16_t dutyCycle_tenth);

void pwm_custom_task(void *pvParameters)
{
    __InitPWM();
    while(1)
    {
        // Test PWM APIS with max duty = 1000%
        // Increase the duty cycle of each pin 50% every 300ms
        for(uint16_t duty = 0; duty <= 1000; duty += 100)
        {
            hal__setDutyCycle(0, duty);
            hal__setDutyCycle(1, duty);
            hal__setDutyCycle(2, duty);
            hal__setDutyCycle(3, duty);
            k_msleep(500);
            if(duty == 1000)
            {
                k_msleep(2000);
                duty = 0;
            }
            else if(duty == 0)
                k_msleep(2000);
        }
    }
}
#endif /* End of (APP_TEST_PWM != 0) */

#if (APP_TEST_ADC != 0)
void adc_custom_task(void *pvParameters)
{
    // Read all ADC channels
    if(__InitADC() != 0)
    {
        LOG_ERR("Failed to init ADC");
    }
    int adc_raw[8]={0};
    int adc_voltage[8]={0};
    while(1)
    {
        for(uint8_t idx=0; idx < 8; idx++)
        {
            adc_raw[idx] = hal__ADCRead(idx);
            if(adc_raw[idx] < 0)
            {
                LOG_ERR("Failed to read ADC channel %d", idx);
                continue;
            }
            adc_voltage[idx] = hal__ADCReadMV(idx);
            if(adc_voltage[idx] < 0)
            {
                LOG_ERR("Failed to read ADC channel %d", idx);
                continue;
            }
        }
        // RAW: [%d %d %d %d %d %d %d %d]\n", adc_raw[0], adc_raw[1], adc_raw[2], adc_raw[3], adc_raw[4], adc_raw[5], adc_raw[6], adc_raw[7]
        LOG_INF("ADC: [%d %d %d %d %d %d %d %d]\n", adc_voltage[0], adc_voltage[1], adc_voltage[2], adc_voltage[3], adc_voltage[4], adc_voltage[5], adc_voltage[6], adc_voltage[7]);
        // mV: [%d %d %d %d %d %d %d %d]\n", adc_voltage[0], adc_voltage[1], adc_voltage[2], adc_voltage[3], adc_voltage[4], adc_voltage[5], adc_voltage[6], adc_voltage[7]
        k_msleep(2000);
    }
}
#endif /* End of (APP_TEST_ADC != 0) */
```

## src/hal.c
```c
/*******************************************************************************
* Title                 :   HAL for nRF52
* Filename              :   hal.c
* Origin Date           :   2023/09/20
* Version               :   0.0.0
* Compiler              :   Zephyr 2.7
* Target                :   nRF52832
* Notes                 :   None
*******************************************************************************/

/******************************************************************************
* Includes
*******************************************************************************/
#include "hal.h"

#include "nrf.h"
#include "system_nrf52.h"


/******************************************************************************
* Module Preprocessor Constants
*******************************************************************************/

/******************************************************************************
* Module Preprocessor Macros
*******************************************************************************/
#include "zephyr/logging/log.h"
#define MODULE_NAME			        hal
#define MODULE_LOG_LEVEL	        LOG_LEVEL_DBG
LOG_MODULE_REGISTER(MODULE_NAME, MODULE_LOG_LEVEL);
/******************************************************************************
* Module Typedefs
*******************************************************************************/

/******************************************************************************
* Module Variable Definitions
*******************************************************************************/
uint8_t io_input_pins[] = {3, 4, 5, 12, 13, 16};

/******************************************************************************
* Function Prototypes
*******************************************************************************/

/******************************************************************************
* Function Definitions
*******************************************************************************/
int __InitUART()
{
    // Init UART0
    if(hal__UARTInit(0) != SUCCESS)
    {
        LOG_ERR("UART1 init failed");
        return FAILURE;
    }
    return SUCCESS;
}

int __InitI2C()
{
    // Init I2C0
    if(hal__I2CINIT(0) != SUCCESS)
    {
        LOG_ERR("I2C0 init failed");
        return FAILURE;
    }
    return SUCCESS;
}

// Enable nRESET of nRF52 by changing PSELRESET register
void System_EnableResetPin(void)
{
    // Log data of PSELRESET register
	LOG_INF("Current PSELRESET[0] = 0x%x\n", NRF_UICR->PSELRESET[0]);
	LOG_INF("Current PSELRESET[1] = 0x%x\n", NRF_UICR->PSELRESET[1]);
    if (((NRF_UICR->PSELRESET[0] & UICR_PSELRESET_CONNECT_Msk) != (UICR_PSELRESET_CONNECT_Connected << UICR_PSELRESET_CONNECT_Pos)) || 
		((NRF_UICR->PSELRESET[1] & UICR_PSELRESET_CONNECT_Msk) != (UICR_PSELRESET_CONNECT_Connected << UICR_PSELRESET_CONNECT_Pos)))
	{
        NRF_NVMC->CONFIG = NVMC_CONFIG_WEN_Wen << NVMC_CONFIG_WEN_Pos;
        while (NRF_NVMC->READY == NVMC_READY_READY_Busy){}
        NRF_UICR->PSELRESET[0] = CONFIG_GPIO_NRESET_PIN;
        while (NRF_NVMC->READY == NVMC_READY_READY_Busy){}
        NRF_UICR->PSELRESET[1] = CONFIG_GPIO_NRESET_PIN;
        while (NRF_NVMC->READY == NVMC_READY_READY_Busy){}
        NRF_NVMC->CONFIG = NVMC_CONFIG_WEN_Ren << NVMC_CONFIG_WEN_Pos;
        while (NRF_NVMC->READY == NVMC_READY_READY_Busy){}
        // Log data of PSELRESET register
        LOG_INF("Updated PSELRESET[0] = 0x%x\n", NRF_UICR->PSELRESET[0]);
        LOG_INF("Updated PSELRESET[1] = 0x%x\n", NRF_UICR->PSELRESET[1]);
        LOG_INF("nRESET pin is enabled\n");
        LOG_INF("System resetting...\n");
        NVIC_SystemReset();
	}
    LOG_INF("nRESET pin is already enabled\n");
}

// Disable nRESET of nRF52
void System_DisableResetPin(void)
{
    // Log data of PSELRESET register
    LOG_INF("Current PSELRESET[0] = 0x%x\n", NRF_UICR->PSELRESET[0]);
    LOG_INF("Current PSELRESET[1] = 0x%x\n", NRF_UICR->PSELRESET[1]);

	if (((NRF_UICR->PSELRESET[0] & UICR_PSELRESET_CONNECT_Msk) != (UICR_PSELRESET_CONNECT_Disconnected << UICR_PSELRESET_CONNECT_Pos)) || 
		((NRF_UICR->PSELRESET[1] & UICR_PSELRESET_CONNECT_Msk) != (UICR_PSELRESET_CONNECT_Disconnected << UICR_PSELRESET_CONNECT_Pos)))
	{
        // Do an ERASEUICR instead of changing PSELRESET register
        NRF_NVMC->CONFIG = NVMC_CONFIG_WEN_Een << NVMC_CONFIG_WEN_Pos;
        while (NRF_NVMC->READY == NVMC_READY_READY_Busy){}
        NRF_NVMC->ERASEUICR = NVMC_ERASEUICR_ERASEUICR_Erase << NVMC_ERASEUICR_ERASEUICR_Pos;
        while (NRF_NVMC->READY == NVMC_READY_READY_Busy){}
        NRF_NVMC->CONFIG = NVMC_CONFIG_WEN_Ren << NVMC_CONFIG_WEN_Pos;
        while (NRF_NVMC->READY == NVMC_READY_READY_Busy){}

        // Log data of PSELRESET register
        LOG_INF("Updated PSELRESET[0] = 0x%x\n", NRF_UICR->PSELRESET[0]);
        LOG_INF("Updated PSELRESET[1] = 0x%x\n", NRF_UICR->PSELRESET[1]);
        LOG_INF("nRESET pin is disabled\n");
        LOG_INF("System resetting...\n");
        NVIC_SystemReset();
	}
    LOG_INF("nRESET pin is already disabled\n");
}

int hal__init(void)
{
    // Init input pins
    if (__InitGPIO() != SUCCESS)
    {
        LOG_ERR("GPIO init failed");
        return FAILURE;
    }

    // Init PWM
    if (__InitPWM() != SUCCESS)
    {
        LOG_ERR("PWM init failed");
        return FAILURE;
    }

    // Init ADC
    if (__InitADC() != SUCCESS)
    {
        LOG_ERR("ADC init failed");
        return FAILURE;
    }

    // Init UART
    if (__InitUART() != SUCCESS)
    {
        LOG_ERR("UART init failed");
        return FAILURE;
    }

    // Init I2C
    if (__InitI2C() != SUCCESS)
    {
        LOG_ERR("I2C init failed");
        return FAILURE;
    }

    // Init BLE
    if (__InitBLE() != SUCCESS)
    {
        LOG_ERR("BLE init failed");
        return FAILURE;
    }

    return SUCCESS;

}
```

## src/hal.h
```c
#ifndef HAL_H
#define HAL_H

#ifdef __cplusplus
extern "C" {
#endif

/*------------------------------------------------------------------------------*/
/*							 Includes and dependencies						    */
/*------------------------------------------------------------------------------*/
#include <stdbool.h>
#include <stdint.h>
/*------------------------------------------------------------------------------*/
/*					  		   Preprocessor Constants						    */
/*------------------------------------------------------------------------------*/
#define SUCCESS                 0
#define FAILURE                 -1

#define param_check(param)	    if ( !(param) ) return FAILURE
#define error_check(con, error) if ( con ) return error

// GPIO relatives
/*
*   PORT    HW_PIN      SOFT_PIN
*   0	    0-31	    0-31
*   1	    0-15	    32-47 
*/
#define mPORT(pinNum)                       (pinNum/CONFIG_GPIO_PORT_PIN_NUM)
#define mPIN(pinNum)                        (pinNum%CONFIG_GPIO_PORT_PIN_NUM)
/*-----------------------------------------------------------------------------*/
/*							    Exported variables				     	   */
/*-----------------------------------------------------------------------------*/
extern const struct device * gpio_devices[];

/*-----------------------------------------------------------------------------*/
/*							    Function prototypes					     	   */
/*-----------------------------------------------------------------------------*/








int hal__init(); //Initialize HAL. Returns 0 on success, -1 on failure.
int __InitGPIO();
int __InitUART();
int __InitI2C();
int __InitADC();
int __InitPWM();
int __InitBLE(void);

/* TIMER_HELPER_FUNCTIONS */
int hal__setDutyCycle(uint8_t pinNum, uint16_t dutyCycle_tenth); 
//Set Duty Cycle, in tenths of percent. For Example, Passing (1, 50) will set Timer 1 Channel 1 to 5.0%. Returns 0 on success, -1 on failure.
//Note: channelNum should be 0-indexed. (0,1,2,3,4,5,6,7,8) - not related to the real physical pins or timer peripherals.
//Note: Setting this value should not directly replace the capture/compare value - it should save this value and replace the capture/compare value on the next timer overflow.
/* GPIO_HELPER_FUNCTIONS */
int hal__setHigh(uint8_t pinNum);
int hal__setLow(uint8_t pinNum);
int hal__read(uint8_t pinNum);

int hal__setState(uint8_t pinNum, uint8_t state); //(0,0) sets pin 0 as input, (0,1) sets pin 0 as output, (0,2) sets pin as high impedance. Returns 0 on success, -1 on failure.
//Note: link pinNum to the datasheet labels in a logical way PA[0:15], PB[0:15], PC[0:15], etc.

/* UART_HELPER_FUNCTIONS */
int hal__UARTInit(uint8_t uartNum); //Initialize UART. Returns 0 on success, -1 on failure.
int hal__UARTAvailable(uint8_t uartNum); //Returns number of bytes available to read from UART. Returns 0 on success, -1 on failure.  //NOTE: if API limitations only allow for knowing IF data is available, return 1 if data is available.

int hal__UARTWrite_uint8(uint8_t uartNum, uint8_t data); //Write data to UART. Returns 0 on success, -1 on failure.
int hal__UARTWrite(uint8_t uartNum, uint8_t *data, uint16_t len); //Write data to UART. Returns number of bytes written on success, -1 on failure.

int hal__UARTRead_uint8(uint8_t uartNum, uint8_t *data); //Read data from UART. Returns 0 on success, -1 on failure.
int hal__UARTRead(uint8_t uartNum, uint8_t *data, uint16_t len); //Read data from UART. Returns number of bytes read on success, -1 on failure.
int hal__UARTFlushRX(uint8_t uartNum); //Flush RX buffer. Returns 0 on success, -1 on failure.
/* I2C_HELPER_FUNCTIONS */
bool hal__I2CEXISTS(uint8_t i2c_num, uint8_t ADDR); //Returns true if I2C device exists at ADDR, false if not.
int hal__I2CINIT(uint8_t i2cNum); //Initialize I2C. Returns 0 on success, -1 on failure.
int hal__I2CREAD_uint8(uint8_t i2c_num, uint8_t ADDR, uint8_t REG, uint8_t *data); //Read data from I2C device at ADDR, register REG. Returns 0 on success, -1 on failure.
int hal__I2CREAD(uint8_t i2c_num, uint8_t ADDR, uint8_t REG, uint8_t *data, uint16_t len); //Read data from I2C device at ADDR, register REG. Returns number of bytes read on success, -1 on failure.

int hal__I2CWRITE_uint8(uint8_t i2c_num, uint8_t ADDR, uint8_t REG, uint8_t data); //Write data to I2C device at ADDR, register REG. Returns 0 on success, -1 on failure.
int hal__I2CWRITE(uint8_t i2c_num, uint8_t ADDR, uint8_t REG, uint8_t *data, uint16_t len); //Write data to I2C device at ADDR, register REG. Returns number of bytes written on success, -1 on failure.

/* ADC_HELPER_FUNCTIONS */
int hal__ADCRead(uint8_t pin);
int hal__ADCReadMV(uint8_t pin);

/* Common functions */
int hal__getStackSize(void); //Returns the stack size of the current task. Returns current stack size on success, -1 on failure.
void System_EnableResetPin(void);
void System_DisableResetPin(void);
#ifdef __cplusplus
}
#endif

#endif /* HAL_H */
```

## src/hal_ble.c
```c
//hal_ble.c
//Abstraction layer for BLE functions
#include <string.h>
#include "ble/bluetoothle.h"
#include "zephyr/bluetooth/gatt.h"
#include "hal.h"

#include "zephyr/logging/log.h"
#define MODULE_NAME			        hal_ble
#define MODULE_LOG_LEVEL	        LOG_LEVEL_DBG
LOG_MODULE_REGISTER(MODULE_NAME, MODULE_LOG_LEVEL);

#define BLE_CONFIG_ALWAYS_ADV               (1)     /* 1 -> Always advertise */

void* char1_read_cb(void* p_data, void* p_len)
{
    static char default_char_value[]="CHAR1_PAYLOAD";
    *(int*)p_len = strlen(default_char_value);
    return default_char_value;
}

void* char2_read_cb(void* p_data, void* p_len)
{
    static char default_char_value[]="CHAR2_PAYLOAD";
    *(int*)p_len = strlen(default_char_value);
    return default_char_value;
}

void* char3_read_cb(void* p_data, void* p_len)
{
    static char default_char_value[]="CHAR3_PAYLOAD";
    *(int*)p_len = strlen(default_char_value);
    return default_char_value;
}

void* char4_read_cb(void* p_data, void* p_len)
{
    static char default_char_value[]="CHAR4_PAYLOAD";
    *(int*)p_len = strlen(default_char_value);
    return default_char_value;
}

int char5_write_cb(void* p_data, void* p_len)
{
    // Dump receive data
    LOG_INF("char5_write_cb, recv %dB", *(int*)p_len);
    LOG_HEXDUMP_INF(p_data, *(int*)p_len, "raw_payload: ");
    return 0;
}

ble_custom_gatt_cb_t custom_service_app =
{
    .custom_char1_read_cb = &char1_read_cb,
    .custom_char2_read_cb = &char2_read_cb,
    .custom_char3_read_cb = &char3_read_cb,
    .custom_char4_read_cb = &char4_read_cb,
    .custom_char5_write_cb = &char5_write_cb,
};


#if (BLE_CONFIG_ALWAYS_ADV == 1)
void app_ble_disconnect_cb(void)
{
    LOG_INF("on ble_disconnect_cb");
    ble_adv_start();
}

ble_callback_t app_ble_callbacks = {
    .ble_disconnected_cb = &app_ble_disconnect_cb,
};

#endif /* End of (BLE_CONFIG_ALWAYS_ADV == 1) */

int __InitBLE(void)
{
    LOG_INF("============== BLE testing =====================");
#if (BLE_CONFIG_ALWAYS_ADV == 1)
    if ( ble_init(&app_ble_callbacks) != SUCCESS )
#else /* !(BLE_CONFIG_ALWAYS_ADV == 1) */
    if ( ble_init(NULL) != SUCCESS )
#endif /* End of (BLE_CONFIG_ALWAYS_ADV == 1) */
    {
        LOG_ERR("BLE init failed");
        return FAILURE;
    }
    ble_custom_service_init(&custom_service_app);

    if (ble_set_adv_name("MY_CUSTOMNAME") != SUCCESS)
    {
        LOG_ERR("BLE set adv name failed");
    }
    
    if (ble_adv_start() != SUCCESS)
    {
        LOG_ERR("BLE adv start failed");
        return FAILURE;
    }
    LOG_INF("============== BLE testing =====================");
    return(SUCCESS);
}
```
